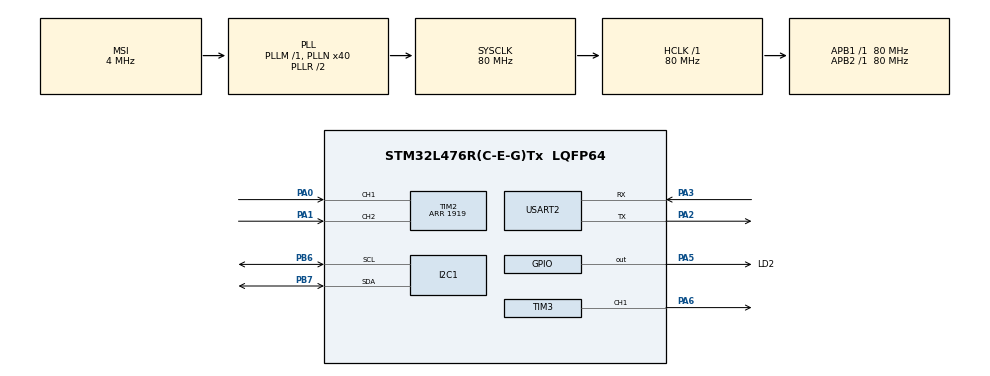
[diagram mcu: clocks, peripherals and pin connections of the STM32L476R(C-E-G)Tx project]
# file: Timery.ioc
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I2C1.Timing=0x10909CEC
Mcu.Family=STM32L4
Mcu.Name=STM32L476R(C-E-G)Tx
Mcu.Package=LQFP64
NVIC.PriorityGroup=NVIC_PRIORITYGROUP_4
NVIC.TIM1_UP_TIM16_IRQn=true\:0\:0\:false\:false\:true\:true\:true
PA0.Signal=S_TIM2_CH1
PA1.Signal=S_TIM2_CH2
PA2.Mode=Asynchronous
PA2.Signal=USART2_TX
PA3.Mode=Asynchronous
PA3.Signal=USART2_RX
PA5.GPIO_Label=LD2
PA5.Signal=GPIO_Output
PA6.Signal=S_TIM3_CH1
PB6.Mode=I2C
PB6.Signal=I2C1_SCL
PB7.Mode=I2C
PB7.Signal=I2C1_SDA
ProjectManager.HeapSize=0x200
ProjectManager.StackSize=0x400
ProjectManager.TargetToolchain=STM32CubeIDE
RCC.AHBFreq_Value=80000000
RCC.APB1Freq_Value=80000000
RCC.APB1TimFreq_Value=80000000
RCC.APB2Freq_Value=80000000
RCC.APB2TimFreq_Value=80000000
RCC.CortexFreq_Value=80000000
RCC.HCLKFreq_Value=80000000
RCC.HSE_VALUE=8000000
RCC.HSI_VALUE=16000000
RCC.LSE_VALUE=32768
RCC.MSI_VALUE=4000000
RCC.PLLN=40
RCC.SYSCLKFreq_VALUE=80000000
RCC.SYSCLKSource=RCC_SYSCLKSOURCE_PLLCLK
RCC.VCOOutputFreq_Value=160000000
SH.S_TIM2_CH1.0=TIM2_CH1,Encoder_Interface
SH.S_TIM2_CH2.0=TIM2_CH2,Encoder_Interface
SH.S_TIM3_CH1.0=TIM3_CH1,PWM Generation1 CH1
TIM16.AutoReloadPreload=TIM_AUTORELOAD_PRELOAD_ENABLE
TIM16.Period=9999
TIM16.Prescaler=7999
TIM2.EncoderMode=TIM_ENCODERMODE_TI1
TIM2.Period=1919
TIM3.AutoReloadPreload=TIM_AUTORELOAD_PRELOAD_ENABLE
TIM3.Channel-PWM\ Generation1\ CH1=TIM_CHANNEL_1
TIM3.Period=999
TIM3.Prescaler=3
USART2.VirtualMode-Asynchronous=VM_ASYNC
VP_TIM16_VS_ClockSourceINT.Mode=Enable_Timer
VP_TIM3_VS_ClockSourceINT.Mode=Internal
board=custom

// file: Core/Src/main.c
/* USER CODE BEGIN Header */
/**
  ******************************************************************************
  * @file           : main.c
  * @brief          : Main program body
  ******************************************************************************
  * @attention
  *
  * Copyright (c) 2021 STMicroelectronics.
  * All rights reserved.
  *
  * This software is licensed under terms that can be found in the LICENSE file
  * in the root directory of this software component.
  * If no LICENSE file comes with this software, it is provided AS-IS.
  *
  ******************************************************************************
  */
/* USER CODE END Header */
#include "main.h"
#include "i2c.h"
#include "tim.h"
#include "usart.h"
#include "gpio.h"

/* USER CODE BEGIN Includes */
#include <stdio.h>
#include <string.h>
/* USER CODE END Includes */

/* USER CODE BEGIN PV */
uint16_t czas;
/* USER CODE END PV */

void SystemClock_Config(void);

int main(void)
{
  /* USER CODE BEGIN 1 */
	char msg[64];
	uint32_t count;
  /* USER CODE END 1 */

  /* MCU Configuration--------------------------------------------------------*/

  /* Reset of all peripherals, Initializes the Flash interface and the Systick. */
  HAL_Init();

  /* Configure the system clock */
  SystemClock_Config();

  /* Initialize all configured peripherals */
  MX_GPIO_Init();
  MX_TIM16_Init();
  MX_I2C1_Init();
  MX_TIM2_Init();
  MX_USART2_UART_Init();
  MX_TIM3_Init();
  /* USER CODE BEGIN 2 */
  HAL_TIM_Base_Start_IT(&htim16);
  HAL_TIM_Encoder_Start(&htim2, TIM_CHANNEL_ALL);
  HAL_TIM_PWM_Start(&htim3, TIM_CHANNEL_1);

  /* USER CODE END 2 */

  /* Infinite loop */
  /* USER CODE BEGIN WHILE */
  uint32_t last_ms = HAL_GetTick();

  while (1)
  {
	  uint32_t now = HAL_GetTick();

	  if(now - last_ms >= 500)
	  {

		  HAL_GPIO_TogglePin(LD2_GPIO_Port, LD2_Pin);
		  last_ms = now;
	  }

	/*  count = __HAL_TIM_GET_COUNTER(&htim2);

	  __HAL_TIM_SET_COMPARE(&htim3, TIM_CHANNEL_1, count);

	  sprintf((char*)msg, "Odczyt: %d\n", count);
	  HAL_UART_Transmit(&huart2, (uint8_t*)msg, strlen(msg), 1000);
	  HAL_Delay(1000); */

    /* USER CODE END WHILE */

  }
}

void SystemClock_Config(void)
{
  RCC_OscInitTypeDef RCC_OscInitStruct = {0};
  RCC_ClkInitTypeDef RCC_ClkInitStruct = {0};

  /** Configure the main internal regulator output voltage
  */
  if (HAL_PWREx_ControlVoltageScaling(PWR_REGULATOR_VOLTAGE_SCALE1) != HAL_OK)
  {
    Error_Handler();
  }
  /** Initializes the RCC Oscillators according to the specified parameters
  * in the RCC_OscInitTypeDef structure.
  */
  RCC_OscInitStruct.OscillatorType = RCC_OSCILLATORTYPE_MSI;
  RCC_OscInitStruct.MSIState = RCC_MSI_ON;
  RCC_OscInitStruct.MSICalibrationValue = 0;
  RCC_OscInitStruct.MSIClockRange = RCC_MSIRANGE_6;
  RCC_OscInitStruct.PLL.PLLState = RCC_PLL_ON;
  RCC_OscInitStruct.PLL.PLLSource = RCC_PLLSOURCE_MSI;
  RCC_OscInitStruct.PLL.PLLM = 1;
  RCC_OscInitStruct.PLL.PLLN = 40;
  RCC_OscInitStruct.PLL.PLLP = RCC_PLLP_DIV7;
  RCC_OscInitStruct.PLL.PLLQ = RCC_PLLQ_DIV2;
  RCC_OscInitStruct.PLL.PLLR = RCC_PLLR_DIV2;
  if (HAL_RCC_OscConfig(&RCC_OscInitStruct) != HAL_OK)
  {
    Error_Handler();
  }
  /** Initializes the CPU, AHB and APB buses clocks
  */
  RCC_ClkInitStruct.ClockType = RCC_CLOCKTYPE_HCLK|RCC_CLOCKTYPE_SYSCLK
                              |RCC_CLOCKTYPE_PCLK1|RCC_CLOCKTYPE_PCLK2;
  RCC_ClkInitStruct.SYSCLKSource = RCC_SYSCLKSOURCE_PLLCLK;
  RCC_ClkInitStruct.AHBCLKDivider = RCC_SYSCLK_DIV1;
  RCC_ClkInitStruct.APB1CLKDivider = RCC_HCLK_DIV1;
  RCC_ClkInitStruct.APB2CLKDivider = RCC_HCLK_DIV1;

  if (HAL_RCC_ClockConfig(&RCC_ClkInitStruct, FLASH_LATENCY_4) != HAL_OK)
  {
    Error_Handler();
  }
}

/* USER CODE BEGIN 4 */
void HAL_TIM_PeriodElapsedCallback(TIM_HandleTypeDef *htim)
{
	if(htim->Instance == TIM16)
	{
		HAL_GPIO_TogglePin(LD2_GPIO_Port, LD2_Pin);
	}
}

/* USER CODE END 4 */

void Error_Handler(void)
{
  __disable_irq();
  while (1)
  {
  }
}
